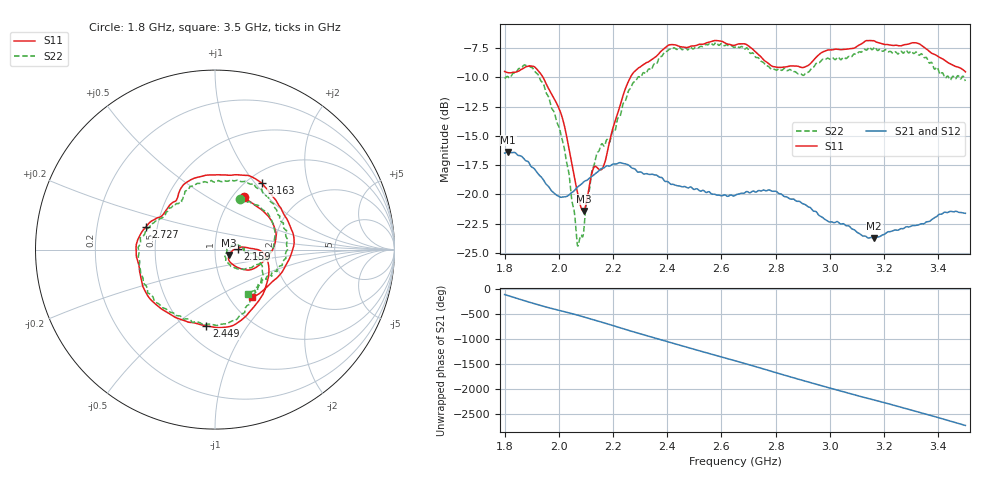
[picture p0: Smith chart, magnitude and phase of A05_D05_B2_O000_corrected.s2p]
! Created with skrf 1.9.0 (http://scikit-rf.org).
# Hz S RI R 50.0
!freq ReS11 ImS11 ReS21 ImS21 ReS12 ImS12 ReS22 ImS22
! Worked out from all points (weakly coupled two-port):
!   1601 points, 1.8 GHz to 3.5 GHz, reference 50 ohm
!   highest |S21| = -16.38 dB at 1.813 GHz (marker M1); lowest = -23.7 dB at 3.163 GHz (marker M2)
!   lowest |S11| = -21.4 dB at 2.091 GHz (marker M3), VSWR 1.19, Z = 58.5 - j3.49 ohm
!   |S11| at or under -10 dB: 1.942 GHz to 2.264 GHz (322.1 MHz wide, 15.3 % of centre)
!   |S22| runs from -24.4 to -7.0 dB; largest |S21 - S12| = 0.0028
!   S11 on the Smith chart (normalised r, x): 1.8 GHz: 1.13, +0.74; 2.159 GHz: 1.29, +0.01; 2.449 GHz: 0.64, -0.66; 2.727 GHz: 0.43, +0.13; 3.163 GHz: 1.16, +1.08; 3.5 GHz: 1.27, -0.75
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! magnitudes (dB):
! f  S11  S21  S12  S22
! 1.8 GHz  -9.5  -16.5  -16.5  -10.1
! 1.813 GHz  -9.6  -16.4  -16.4  -9.9
! 1.881 GHz  -9.1  -17.2  -17.2  -9.0
! 1.942 GHz  -10.0  -18.7  -18.7  -10.5
! 2.013 GHz  -13.4  -20.2  -20.2  -15.3
! 2.068 GHz  -19.7  -19.4  -19.4  -24.2
! 2.084 GHz  -21.2  -19.1  -19.1  -23.5
! 2.091 GHz  -21.4  -18.9  -19.0  -23.3
! 2.127 GHz  -17.8  -18.4  -18.4  -17.7
! 2.159 GHz  -17.9  -17.8  -17.7  -15.7
! 2.191 GHz  -15.1  -17.5  -17.6  -15.3
! 2.26 GHz  -10.2  -17.5  -17.6  -11.1
! 2.367 GHz  -8.0  -18.5  -18.4  -8.5
! 2.449 GHz  -7.4  -19.3  -19.3  -7.5
! 2.65 GHz  -7.3  -20.1  -20.1  -7.4
! 2.727 GHz  -7.8  -19.8  -19.8  -8.3
! 2.799 GHz  -9.1  -19.7  -19.7  -9.4
! 2.934 GHz  -8.7  -21.3  -21.3  -9.2
! 3.163 GHz  -6.9  -23.7  -23.7  -7.4
! 3.217 GHz  -7.2  -23.2  -23.2  -7.8
! 3.324 GHz  -7.1  -22.6  -22.6  -8.0
! 3.5 GHz  -9.5  -21.6  -21.6  -10.3
